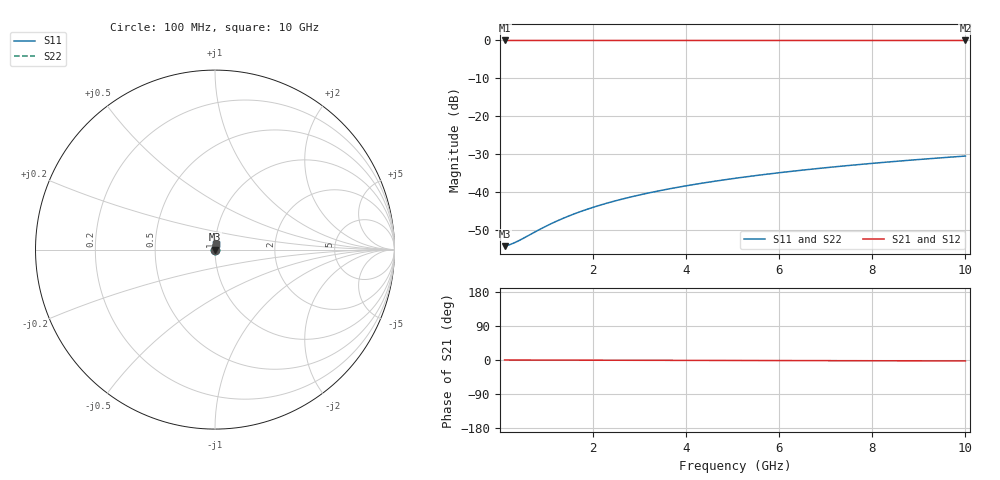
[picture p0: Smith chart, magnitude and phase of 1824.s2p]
# Hz S RI R 50.00
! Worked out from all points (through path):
!   100 points, 100 MHz to 10 GHz, reference 50 ohm
!   highest |S21| = -0.02 dB at 100 MHz (marker M1); lowest = 0.0 dB at 10 GHz (marker M2)
!   lowest |S11| = -54.3 dB at 100 MHz (marker M3), VSWR 1.00, Z = 50.2 + j0.0297 ohm
!   |S11| at or under -10 dB: start of sweep to end of sweep
!   |S22| runs from -54.3 to -30.5 dB; largest |S21 - S12| = 0
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1e8  0.0019 0.000296  0.9981 -0.000429  0.9981 -0.000429  0.0019 0.000296
2e8  0.00191 0.000592  0.9981 -0.000857  0.9981 -0.000857  0.00191 0.000592
3e8  0.00192 0.000888  0.9981 -0.00129  0.9981 -0.00129  0.00192 0.000888
4e8  0.00193 0.00118  0.9981 -0.00171  0.9981 -0.00171  0.00193 0.00118
9e8  0.00197 0.00266  0.998 -0.00386  0.998 -0.00386  0.00197 0.00266
1.2e9  0.00198 0.00355  0.998 -0.00514  0.998 -0.00514  0.00198 0.00355
1.5e9  0.002 0.00444  0.998 -0.00643  0.998 -0.00643  0.002 0.00444
1.8e9  0.00203 0.00533  0.998 -0.00771  0.998 -0.00771  0.00203 0.00533
2.1e9  0.00205 0.00621  0.9979 -0.009  0.9979 -0.009  0.00205 0.00621
2.5e9  0.00208 0.0074  0.9979 -0.0107  0.9979 -0.0107  0.00208 0.0074
2.9e9  0.00212 0.00858  0.9979 -0.0124  0.9979 -0.0124  0.00212 0.00858
3.4e9  0.00216 0.0101  0.9978 -0.0146  0.9978 -0.0146  0.00216 0.0101
3.8e9  0.00221 0.0112  0.9978 -0.0163  0.9978 -0.0163  0.00221 0.0112
4.2e9  0.00226 0.0124  0.9977 -0.018  0.9977 -0.018  0.00226 0.0124
4.6e9  0.00231 0.0136  0.9977 -0.0197  0.9977 -0.0197  0.00231 0.0136
5.1e9  0.00238 0.0151  0.9976 -0.0219  0.9976 -0.0219  0.00238 0.0151
5.9e9  0.0025 0.0174  0.9975 -0.0253  0.9975 -0.0253  0.0025 0.0174
6.7e9  0.00264 0.0198  0.9973 -0.0287  0.9973 -0.0287  0.00264 0.0198
7.5e9  0.0028 0.0222  0.9971 -0.0321  0.9971 -0.0321  0.0028 0.0222
8.4e9  0.00299 0.0248  0.9969 -0.036  0.9969 -0.036  0.00299 0.0248
9.2e9  0.00318 0.0272  0.9967 -0.0394  0.9967 -0.0394  0.00318 0.0272
1e10  0.00339 0.0296  0.9965 -0.0428  0.9965 -0.0428  0.00339 0.0296
